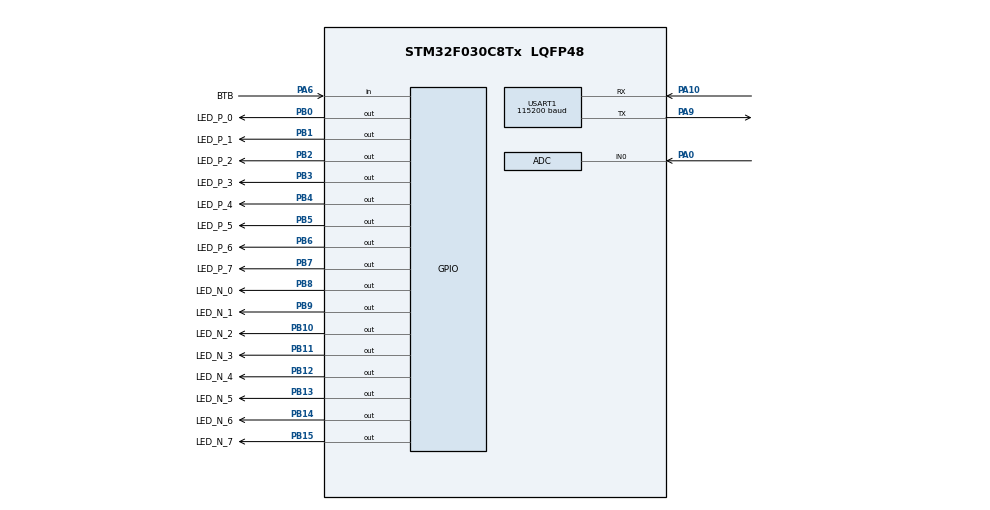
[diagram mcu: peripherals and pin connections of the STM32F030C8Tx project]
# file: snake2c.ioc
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ADC.ContinuousConvMode=ENABLE
Mcu.Family=STM32F0
Mcu.Name=STM32F030C8Tx
Mcu.Package=LQFP48
NVIC.TIM16_IRQn=true\:0\:0\:false\:false\:true\:true\:true\:true
PA0.Mode=IN0
PA0.Signal=ADC_IN0
PA10.Mode=Asynchronous
PA10.Signal=USART1_RX
PA13.Mode=Serial_Wire
PA13.Signal=SYS_SWDIO
PA14.Mode=Serial_Wire
PA14.Signal=SYS_SWCLK
PA6.GPIO_Label=BTB
PA6.GPIO_PuPd=GPIO_PULLUP
PA6.Signal=GPIO_Input
PA9.Mode=Asynchronous
PA9.Signal=USART1_TX
PB0.GPIO_Label=LED_P_0
PB0.GPIO_Speed=GPIO_SPEED_FREQ_HIGH
PB0.Signal=GPIO_Output
PB1.GPIO_Label=LED_P_1
PB1.GPIO_Speed=GPIO_SPEED_FREQ_HIGH
PB1.Signal=GPIO_Output
PB10.GPIO_Label=LED_N_2
PB10.GPIO_ModeDefaultOutputPP=GPIO_MODE_OUTPUT_OD
PB10.GPIO_Speed=GPIO_SPEED_FREQ_HIGH
PB10.Signal=GPIO_Output
PB11.GPIO_Label=LED_N_3
PB11.GPIO_ModeDefaultOutputPP=GPIO_MODE_OUTPUT_OD
PB11.GPIO_Speed=GPIO_SPEED_FREQ_HIGH
PB11.Signal=GPIO_Output
PB12.GPIO_Label=LED_N_4
PB12.GPIO_ModeDefaultOutputPP=GPIO_MODE_OUTPUT_OD
PB12.GPIO_Speed=GPIO_SPEED_FREQ_HIGH
PB12.Signal=GPIO_Output
PB13.GPIO_Label=LED_N_5
PB13.GPIO_ModeDefaultOutputPP=GPIO_MODE_OUTPUT_OD
PB13.GPIO_Speed=GPIO_SPEED_FREQ_HIGH
PB13.Signal=GPIO_Output
PB14.GPIO_Label=LED_N_6
PB14.GPIO_ModeDefaultOutputPP=GPIO_MODE_OUTPUT_OD
PB14.GPIO_Speed=GPIO_SPEED_FREQ_HIGH
PB14.Signal=GPIO_Output
PB15.GPIO_Label=LED_N_7
PB15.GPIO_ModeDefaultOutputPP=GPIO_MODE_OUTPUT_OD
PB15.GPIO_Speed=GPIO_SPEED_FREQ_HIGH
PB15.Signal=GPIO_Output
PB2.GPIO_Label=LED_P_2
PB2.GPIO_Speed=GPIO_SPEED_FREQ_HIGH
PB2.Signal=GPIO_Output
PB3.GPIO_Label=LED_P_3
PB3.GPIO_Speed=GPIO_SPEED_FREQ_HIGH
PB3.Signal=GPIO_Output
PB4.GPIO_Label=LED_P_4
PB4.GPIO_Speed=GPIO_SPEED_FREQ_HIGH
PB4.Signal=GPIO_Output
PB5.GPIO_Label=LED_P_5
PB5.GPIO_Speed=GPIO_SPEED_FREQ_HIGH
PB5.Signal=GPIO_Output
PB6.GPIO_Label=LED_P_6
PB6.GPIO_Speed=GPIO_SPEED_FREQ_HIGH
PB6.Signal=GPIO_Output
PB7.GPIO_Label=LED_P_7
PB7.GPIO_Speed=GPIO_SPEED_FREQ_HIGH
PB7.Signal=GPIO_Output
PB8.GPIO_Label=LED_N_0
PB8.GPIO_ModeDefaultOutputPP=GPIO_MODE_OUTPUT_OD
PB8.GPIO_Speed=GPIO_SPEED_FREQ_HIGH
PB8.Signal=GPIO_Output
PB9.GPIO_Label=LED_N_1
PB9.GPIO_ModeDefaultOutputPP=GPIO_MODE_OUTPUT_OD
PB9.GPIO_Speed=GPIO_SPEED_FREQ_HIGH
PB9.Signal=GPIO_Output
ProjectManager.HeapSize=0x200
ProjectManager.StackSize=0x400
ProjectManager.TargetToolchain=STM32CubeIDE
TIM16.AutoReloadPreload=TIM_AUTORELOAD_PRELOAD_DISABLE
TIM16.ClockDivision=TIM_CLOCKDIVISION_DIV1
TIM16.CounterMode=TIM_COUNTERMODE_UP
TIM16.Period=1000
TIM16.Prescaler=0
TIM16.RepetitionCounter=0
USART1.AutoBaudRateEnableParam=UART_ADVFEATURE_AUTOBAUDRATE_DISABLE
USART1.BaudRate=115200
USART1.DMADisableonRxErrorParam=ADVFEATURE_DMA_ENABLEONRXERROR
USART1.DataInvertParam=ADVFEATURE_DATAINV_DISABLE
USART1.MSBFirstParam=ADVFEATURE_MSBFIRST_DISABLE
USART1.Mode=MODE_TX_RX
USART1.OneBitSampling=UART_ONE_BIT_SAMPLE_DISABLE
USART1.OverSampling=UART_OVERSAMPLING_16
USART1.OverrunDisableParam=ADVFEATURE_OVERRUN_ENABLE
USART1.Parity=PARITY_NONE
USART1.RxPinLevelInvertParam=ADVFEATURE_RXINV_DISABLE
USART1.StopBits=STOPBITS_1
USART1.SwapParam=ADVFEATURE_SWAP_DISABLE
USART1.TxPinLevelInvertParam=ADVFEATURE_TXINV_DISABLE
USART1.VirtualMode-Asynchronous=VM_ASYNC
USART1.WordLength=WORDLENGTH_8B
VP_TIM16_VS_ClockSourceINT.Mode=Enable_Timer
board=custom

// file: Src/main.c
/* USER CODE BEGIN Header */
/**
  ******************************************************************************
  * @file           : main.c
  * @brief          : Main program body
  ******************************************************************************
  * @attention
  *
  * Copyright (c) 2022 STMicroelectronics.
  * All rights reserved.
  *
  * This software is licensed under terms that can be found in the LICENSE file
  * in the root directory of this software component.
  * If no LICENSE file comes with this software, it is provided AS-IS.
  *
  ******************************************************************************
  */
/* USER CODE END Header */
#include <anim_swipe.h>
#include "main.h"
#include "adc.h"
#include "tim.h"
#include "usart.h"
#include "gpio.h"

/* USER CODE BEGIN Includes */

#include "screenBuffer.h"
#include "ascii_letter.h"
#include "anim_random.h"
#include "anim_swipe.h"
#include "anim_name.h"

/* USER CODE END Includes */

/* USER CODE BEGIN PD */

#define MAX_ANIM_ID 9
#define DELAY_PER_LETTER 500
uint8_t currentAnimation = 0;

/* USER CODE END PD */

void SystemClock_Config(void);

int main(void)
{

  /* MCU Configuration--------------------------------------------------------*/

  /* Reset of all peripherals, Initializes the Flash interface and the Systick. */
  HAL_Init();

  /* Configure the system clock */
  SystemClock_Config();

  /* Initialize all configured peripherals */
  MX_GPIO_Init();
  MX_USART1_UART_Init();
  MX_TIM16_Init();
  MX_ADC_Init();
  /* USER CODE BEGIN 2 */

  //Generate seed from floating ADC pin
  HAL_ADC_Start(&hadc);
  uint32_t seed = 0;
  uint32_t currentVal = 0;
  for(int i=0; i<10; i++)
  {
	  HAL_ADC_PollForConversion(&hadc, 0xFF);
	  currentVal = HAL_ADC_GetValue(&hadc);
	  seed = seed + currentVal;
	  HAL_Delay(2);
  }
  srand(seed);	//input seed into sRand

  //start timer for screen refresh
  HAL_TIM_Base_Start_IT(&htim16);

  uint32_t schedulerTimestamp_updateName = 0;

  /* USER CODE END 2 */

  /* Infinite loop */
  while (1)
  {

    /* USER CODE BEGIN 3 */

	if( HAL_GPIO_ReadPin(BTB_GPIO_Port, BTB_Pin) == GPIO_PIN_RESET )
	{
		currentAnimation++;
		if(currentAnimation == MAX_ANIM_ID)
			currentAnimation = 0;

		//HAL_Delay(100);
		while(HAL_GPIO_ReadPin(BTB_GPIO_Port, BTB_Pin) == GPIO_PIN_RESET)
		{
			screen_show_letter(ASCII_ONE + currentAnimation);
			HAL_Delay(100);
		}
	}

	switch(currentAnimation)
	{
		 case 0:
			 anim_random_run();
			 break;
		 case 1:
			 if(HAL_GetTick() - schedulerTimestamp_updateName > DELAY_PER_LETTER)
			 {
				 schedulerTimestamp_updateName = HAL_GetTick();
				 anim_name_word("DEFCON31! ");
			 }
			 break;
		 case 2:
			 anim_horizontal_run();
			 break;
		 case 3:
			 anim_vertical_run();
			 break;
		 case 4:
			 anim_diagonal_run();
			 break;
		 case 5:
			 anim_rotate_run();
			 break;
		 case 6:
			 if(HAL_GetTick() - schedulerTimestamp_updateName > DELAY_PER_LETTER)
			 {
				 schedulerTimestamp_updateName = HAL_GetTick();
				 anim_name_word("RAWR! ^.^ ");
			 }
			 break;
		 case 7:
			 anim_swipeAll_run();
			 break;
		 case 8:
			 anim_ball_run();
		 default:
			 screen_fill(); HAL_Delay(10);
			 screen_clear(); HAL_Delay(10);
			 break;

	}

  }
  /* USER CODE END 3 */
}

void SystemClock_Config(void)
{
  RCC_OscInitTypeDef RCC_OscInitStruct = {0};
  RCC_ClkInitTypeDef RCC_ClkInitStruct = {0};
  RCC_PeriphCLKInitTypeDef PeriphClkInit = {0};

  /** Initializes the RCC Oscillators according to the specified parameters
  * in the RCC_OscInitTypeDef structure.
  */
  RCC_OscInitStruct.OscillatorType = RCC_OSCILLATORTYPE_HSI|RCC_OSCILLATORTYPE_HSI14;
  RCC_OscInitStruct.HSIState = RCC_HSI_ON;
  RCC_OscInitStruct.HSI14State = RCC_HSI14_ON;
  RCC_OscInitStruct.HSICalibrationValue = RCC_HSICALIBRATION_DEFAULT;
  RCC_OscInitStruct.HSI14CalibrationValue = 16;
  RCC_OscInitStruct.PLL.PLLState = RCC_PLL_NONE;
  if (HAL_RCC_OscConfig(&RCC_OscInitStruct) != HAL_OK)
  {
    Error_Handler();
  }

  /** Initializes the CPU, AHB and APB buses clocks
  */
  RCC_ClkInitStruct.ClockType = RCC_CLOCKTYPE_HCLK|RCC_CLOCKTYPE_SYSCLK
                              |RCC_CLOCKTYPE_PCLK1;
  RCC_ClkInitStruct.SYSCLKSource = RCC_SYSCLKSOURCE_HSI;
  RCC_ClkInitStruct.AHBCLKDivider = RCC_SYSCLK_DIV1;
  RCC_ClkInitStruct.APB1CLKDivider = RCC_HCLK_DIV1;

  if (HAL_RCC_ClockConfig(&RCC_ClkInitStruct, FLASH_LATENCY_0) != HAL_OK)
  {
    Error_Handler();
  }
  PeriphClkInit.PeriphClockSelection = RCC_PERIPHCLK_USART1;
  PeriphClkInit.Usart1ClockSelection = RCC_USART1CLKSOURCE_PCLK1;
  if (HAL_RCCEx_PeriphCLKConfig(&PeriphClkInit) != HAL_OK)
  {
    Error_Handler();
  }
}

void Error_Handler(void)
{
  __disable_irq();
  while (1)
  {
  }
}
